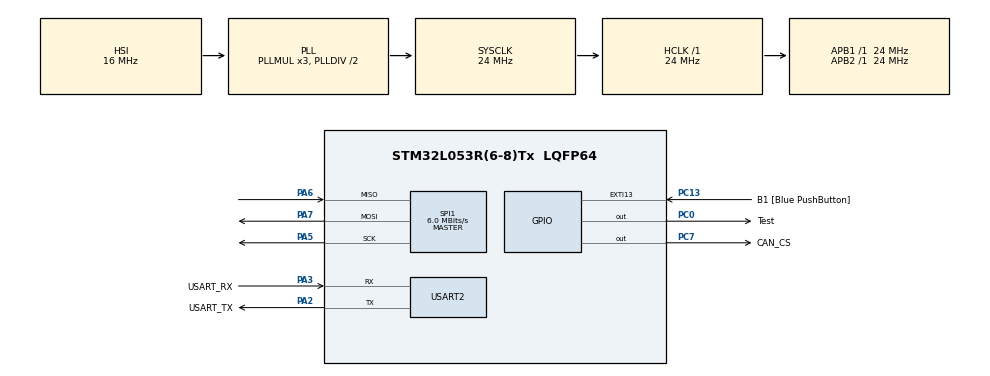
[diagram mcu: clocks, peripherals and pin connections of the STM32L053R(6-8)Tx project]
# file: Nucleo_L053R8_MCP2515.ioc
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Mcu.Family=STM32L0
Mcu.Name=STM32L053R(6-8)Tx
Mcu.Package=LQFP64
PA13.GPIO_Label=TMS
PA13.Mode=Serial_Wire
PA13.Signal=SYS_SWDIO
PA14.GPIO_Label=TCK
PA14.Mode=Serial_Wire
PA14.Signal=SYS_SWCLK
PA2.GPIO_Label=USART_TX
PA2.Mode=Asynchronous
PA2.Signal=USART2_TX
PA3.GPIO_Label=USART_RX
PA3.Mode=Asynchronous
PA3.Signal=USART2_RX
PA5.Mode=Full_Duplex_Master
PA5.Signal=SPI1_SCK
PA6.Mode=Full_Duplex_Master
PA6.Signal=SPI1_MISO
PA7.Mode=Full_Duplex_Master
PA7.Signal=SPI1_MOSI
PC0.GPIO_Label=Test
PC0.Signal=GPIO_Output
PC13.GPIO_Label=B1 [Blue PushButton]
PC13.GPIO_ModeDefaultEXTI=GPIO_MODE_IT_FALLING
PC13.Signal=GPXTI13
PC14-OSC32_IN.Mode=LSE-External-Oscillator
PC14-OSC32_IN.Signal=RCC_OSC32_IN
PC15-OSC32_OUT.Mode=LSE-External-Oscillator
PC15-OSC32_OUT.Signal=RCC_OSC32_OUT
PC7.GPIO_Label=CAN_CS
PC7.PinState=GPIO_PIN_SET
PC7.Signal=GPIO_Output
PH0-OSC_IN.Mode=HSE-External-Clock-Source
PH0-OSC_IN.Signal=RCC_OSC_IN
PH1-OSC_OUT.Signal=RCC_OSC_OUT
ProjectManager.HeapSize=0x200
ProjectManager.StackSize=0x400
ProjectManager.TargetToolchain=MDK-ARM V5
RCC.AHBFreq_Value=24000000
RCC.APB1Freq_Value=24000000
RCC.APB1TimFreq_Value=24000000
RCC.APB2Freq_Value=24000000
RCC.APB2TimFreq_Value=24000000
RCC.HCLKFreq_Value=24000000
RCC.HSE_VALUE=8000000
RCC.HSI16_VALUE=16000000
RCC.HSI48_VALUE=48000000
RCC.HSI_VALUE=16000000
RCC.MSI_VALUE=2097000
RCC.SYSCLKFreq_VALUE=24000000
RCC.SYSCLKSource=RCC_SYSCLKSOURCE_PLLCLK
RCC.VCOOutputFreq_Value=48000000
SPI1.BaudRatePrescaler=SPI_BAUDRATEPRESCALER_4
SPI1.CalculateBaudRate=6.0 MBits/s
SPI1.Direction=SPI_DIRECTION_2LINES
SPI1.Mode=SPI_MODE_MASTER
SPI1.VirtualType=VM_MASTER
USART2.VirtualMode-Asynchronous=VM_ASYNC
board=NUCLEO-L053R8

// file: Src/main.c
/* USER CODE BEGIN Header */
/**
  ******************************************************************************
  * @file           : main.c
  * @brief          : Main program body
  ******************************************************************************
  * @attention
  *
  * <h2><center>&copy; Copyright (c) 2020 STMicroelectronics.
  * All rights reserved.</center></h2>
  *
  * This software component is licensed by ST under BSD 3-Clause license,
  * the "License"; You may not use this file except in compliance with the
  * License. You may obtain a copy of the License at:
  *                        opensource.org/licenses/BSD-3-Clause
  *
  ******************************************************************************
  */

/* USER CODE END Header */

#include "main.h"

/* USER CODE BEGIN Includes */

#include "CANSPI.h"
#include "stm32l0xx_hal.h"
#include "stdio.h"
#include "string.h"

/* USER CODE END Includes */

SPI_HandleTypeDef hspi1;
UART_HandleTypeDef huart2;

/* USER CODE BEGIN PV */
uCAN_MSG txMessage;
uCAN_MSG rxMessage;
/* USER CODE END PV */

void SystemClock_Config(void);
static void MX_GPIO_Init(void);
static void MX_SPI1_Init(void);
static void MX_USART2_UART_Init(void);

/* USER CODE BEGIN 0 */
void serial_print(int msg)
{
	char str[128];
	sprintf(str, "%d", msg);
	strcat(str, "\n");
	HAL_UART_Transmit(&huart2, str, strlen(str), HAL_MAX_DELAY);

	return;
}
/* USER CODE END 0 */

int main(void)
{

  /* MCU Configuration--------------------------------------------------------*/

  /* Reset of all peripherals, Initializes the Flash interface and the Systick. */
  HAL_Init();

  /* Configure the system clock */
  SystemClock_Config();

  /* Initialize all configured peripherals */
  MX_GPIO_Init();
  MX_SPI1_Init();
  MX_USART2_UART_Init();
  /* USER CODE BEGIN 2 */
	CANSPI_Initialize();
	serial_print(6);
  /* USER CODE END 2 */

  /* Infinite loop */
  while (1)
  {

    /* USER CODE BEGIN 3 */

		if(CANSPI_Receive(&rxMessage))
    {
			serial_print(rxMessage.frame.data0);
      serial_print(rxMessage.frame.data1);
      serial_print(rxMessage.frame.data2);
      serial_print(rxMessage.frame.data3);
      serial_print(rxMessage.frame.data4);
      serial_print(rxMessage.frame.data5);
      serial_print(rxMessage.frame.data6);
      serial_print(rxMessage.frame.data7);
    }

    HAL_Delay(1000);
  }
  /* USER CODE END 3 */
}

void SystemClock_Config(void)
{
  RCC_OscInitTypeDef RCC_OscInitStruct = {0};
  RCC_ClkInitTypeDef RCC_ClkInitStruct = {0};
  RCC_PeriphCLKInitTypeDef PeriphClkInit = {0};

  /** Configure the main internal regulator output voltage
  */
  __HAL_PWR_VOLTAGESCALING_CONFIG(PWR_REGULATOR_VOLTAGE_SCALE1);
  /** Initializes the CPU, AHB and APB busses clocks
  */
  RCC_OscInitStruct.OscillatorType = RCC_OSCILLATORTYPE_HSI;
  RCC_OscInitStruct.HSIState = RCC_HSI_ON;
  RCC_OscInitStruct.HSICalibrationValue = RCC_HSICALIBRATION_DEFAULT;
  RCC_OscInitStruct.PLL.PLLState = RCC_PLL_ON;
  RCC_OscInitStruct.PLL.PLLSource = RCC_PLLSOURCE_HSI;
  RCC_OscInitStruct.PLL.PLLMUL = RCC_PLLMUL_3;
  RCC_OscInitStruct.PLL.PLLDIV = RCC_PLLDIV_2;
  if (HAL_RCC_OscConfig(&RCC_OscInitStruct) != HAL_OK)
  {
    Error_Handler();
  }
  /** Initializes the CPU, AHB and APB busses clocks
  */
  RCC_ClkInitStruct.ClockType = RCC_CLOCKTYPE_HCLK|RCC_CLOCKTYPE_SYSCLK
                              |RCC_CLOCKTYPE_PCLK1|RCC_CLOCKTYPE_PCLK2;
  RCC_ClkInitStruct.SYSCLKSource = RCC_SYSCLKSOURCE_PLLCLK;
  RCC_ClkInitStruct.AHBCLKDivider = RCC_SYSCLK_DIV1;
  RCC_ClkInitStruct.APB1CLKDivider = RCC_HCLK_DIV1;
  RCC_ClkInitStruct.APB2CLKDivider = RCC_HCLK_DIV1;

  if (HAL_RCC_ClockConfig(&RCC_ClkInitStruct, FLASH_LATENCY_1) != HAL_OK)
  {
    Error_Handler();
  }
  PeriphClkInit.PeriphClockSelection = RCC_PERIPHCLK_USART2;
  PeriphClkInit.Usart2ClockSelection = RCC_USART2CLKSOURCE_PCLK1;
  if (HAL_RCCEx_PeriphCLKConfig(&PeriphClkInit) != HAL_OK)
  {
    Error_Handler();
  }
}

static void MX_SPI1_Init(void)
{

  /* SPI1 parameter configuration*/
  hspi1.Instance = SPI1;
  hspi1.Init.Mode = SPI_MODE_MASTER;
  hspi1.Init.Direction = SPI_DIRECTION_2LINES;
  hspi1.Init.DataSize = SPI_DATASIZE_8BIT;
  hspi1.Init.CLKPolarity = SPI_POLARITY_LOW;
  hspi1.Init.CLKPhase = SPI_PHASE_1EDGE;
  hspi1.Init.NSS = SPI_NSS_SOFT;
  hspi1.Init.BaudRatePrescaler = SPI_BAUDRATEPRESCALER_4;
  hspi1.Init.FirstBit = SPI_FIRSTBIT_MSB;
  hspi1.Init.TIMode = SPI_TIMODE_DISABLE;
  hspi1.Init.CRCCalculation = SPI_CRCCALCULATION_DISABLE;
  hspi1.Init.CRCPolynomial = 7;
  if (HAL_SPI_Init(&hspi1) != HAL_OK)
  {
    Error_Handler();
  }

}

static void MX_USART2_UART_Init(void)
{

  huart2.Instance = USART2;
  huart2.Init.BaudRate = 115200;
  huart2.Init.WordLength = UART_WORDLENGTH_8B;
  huart2.Init.StopBits = UART_STOPBITS_1;
  huart2.Init.Parity = UART_PARITY_NONE;
  huart2.Init.Mode = UART_MODE_TX_RX;
  huart2.Init.HwFlowCtl = UART_HWCONTROL_NONE;
  huart2.Init.OverSampling = UART_OVERSAMPLING_16;
  huart2.Init.OneBitSampling = UART_ONE_BIT_SAMPLE_DISABLE;
  huart2.AdvancedInit.AdvFeatureInit = UART_ADVFEATURE_NO_INIT;
  if (HAL_UART_Init(&huart2) != HAL_OK)
  {
    Error_Handler();
  }

}

static void MX_GPIO_Init(void)
{
  GPIO_InitTypeDef GPIO_InitStruct = {0};

  /* GPIO Ports Clock Enable */
  __HAL_RCC_GPIOC_CLK_ENABLE();
  __HAL_RCC_GPIOH_CLK_ENABLE();
  __HAL_RCC_GPIOA_CLK_ENABLE();
  __HAL_RCC_GPIOB_CLK_ENABLE();

  /*Configure GPIO pin Output Level */
  HAL_GPIO_WritePin(Test_GPIO_Port, Test_Pin, GPIO_PIN_RESET);

  /*Configure GPIO pin Output Level */
  HAL_GPIO_WritePin(CAN_CS_GPIO_Port, CAN_CS_Pin, GPIO_PIN_SET);

  /*Configure GPIO pin : B1_Pin */
  GPIO_InitStruct.Pin = B1_Pin;
  GPIO_InitStruct.Mode = GPIO_MODE_IT_FALLING;
  GPIO_InitStruct.Pull = GPIO_NOPULL;
  HAL_GPIO_Init(B1_GPIO_Port, &GPIO_InitStruct);

  /*Configure GPIO pin : Test_Pin */
  GPIO_InitStruct.Pin = Test_Pin;
  GPIO_InitStruct.Mode = GPIO_MODE_OUTPUT_PP;
  GPIO_InitStruct.Pull = GPIO_NOPULL;
  GPIO_InitStruct.Speed = GPIO_SPEED_FREQ_LOW;
  HAL_GPIO_Init(Test_GPIO_Port, &GPIO_InitStruct);

  /*Configure GPIO pin : CAN_CS_Pin */
  GPIO_InitStruct.Pin = CAN_CS_Pin;
  GPIO_InitStruct.Mode = GPIO_MODE_OUTPUT_PP;
  GPIO_InitStruct.Pull = GPIO_NOPULL;
  GPIO_InitStruct.Speed = GPIO_SPEED_FREQ_MEDIUM;
  HAL_GPIO_Init(CAN_CS_GPIO_Port, &GPIO_InitStruct);

}

void Error_Handler(void)
{
}

/************************ (C) COPYRIGHT STMicroelectronics *****END OF FILE****/
